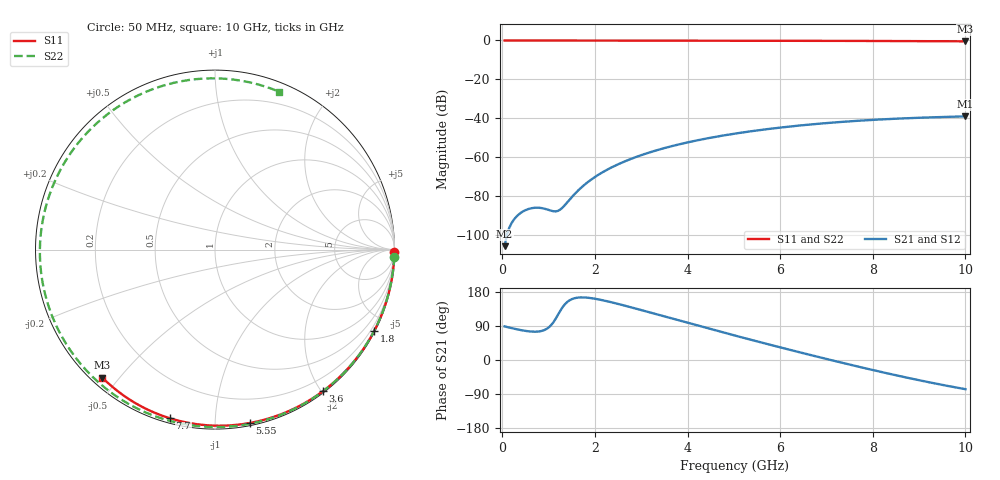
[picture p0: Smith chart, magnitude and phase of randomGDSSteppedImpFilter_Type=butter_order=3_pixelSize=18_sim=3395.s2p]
! freq	dB(S11)	phase(S11)	dB(S12)	phase(S12)
!  dB(S21)	phase(S21)	dB(S22)	phase(S22)
!S-par simulation data
#  GHz  S  DB  R 50
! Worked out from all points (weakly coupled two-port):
!   200 points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, 50 MHz to 10 GHz, reference 50 ohm
!   highest |S21| = -38.95 dB at 10 GHz (marker M1); lowest = -105.5 dB at 50 MHz (marker M2)
!   lowest |S11| = -0.4 dB at 10 GHz (marker M3), VSWR 38.99, Z = 1.54 - j22.6 ohm
!   |S11| at or under -10 dB: nowhere
!   |S22| runs from -0.5 to 0.0 dB; largest |S21 - S12| = 0
!   S11 on the Smith chart (normalised r, x): 50 MHz: open; 1.8 GHz: 0.04, -4.18; 3.6 GHz: 0.02, -2.02; 5.55 GHz: 0.02, -1.22; 7.7 GHz: 0.02, -0.77; 10 GHz: 0.03, -0.45
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0.05  -0.00 -0.8  -105.49 88.7  -105.49 88.7  -0.00 -2.3
0.35  -0.01 -5.3  -89.32 80.2  -89.32 80.2  -0.02 -15.7
0.7  -0.01 -10.6  -85.81 74.7  -85.81 74.7  -0.04 -31.2
1.1  -0.02 -16.6  -87.56 98.9  -87.56 98.9  -0.06 -48.2
1.5  -0.03 -22.5  -80.35 160.5  -80.35 160.5  -0.08 -64.4
1.75  -0.03 -26.2  -74.51 165.2  -74.51 165.2  -0.09 -74.0
1.8  -0.03 -26.9  -73.52 164.8  -73.52 164.8  -0.09 -75.9
2.1  -0.04 -31.3  -68.52 159.4  -68.52 159.4  -0.10 -86.8
2.45  -0.05 -36.4  -64.07 149.5  -64.07 149.5  -0.11 -98.9
2.9  -0.06 -42.8  -59.66 135.1  -59.66 135.1  -0.12 -113.4
3.4  -0.07 -49.8  -55.86 118.4  -55.86 118.4  -0.14 -128.4
3.6  -0.07 -52.6  -54.57 111.6  -54.57 111.6  -0.14 -134.0
4.3  -0.09 -62.2  -50.79 88.2  -50.79 88.2  -0.17 -152.8
5.05  -0.11 -72.1  -47.68 63.6  -47.68 63.6  -0.20 -171.5
5.55  -0.13 -78.6  -45.99 47.6  -45.99 47.6  -0.22 176.5
6.1  -0.15 -85.6  -44.42 30.3  -44.42 30.3  -0.25 163.6
6.7  -0.18 -93.0  -42.99 11.8  -42.99 11.8  -0.28 149.5
7.7  -0.24 -105.0  -41.16 -17.9  -41.16 -17.9  -0.33 125.9
8.35  -0.29 -112.5  -40.29 -36.2  -40.29 -36.2  -0.37 110.2
8.8  -0.33 -117.7  -39.82 -48.2  -39.82 -48.2  -0.39 98.9
9.2  -0.36 -122.3  -39.47 -58.4  -39.47 -58.4  -0.41 88.8
10  -0.45 -131.3  -38.95 -77.0  -38.95 -77.0  -0.45 67.9
